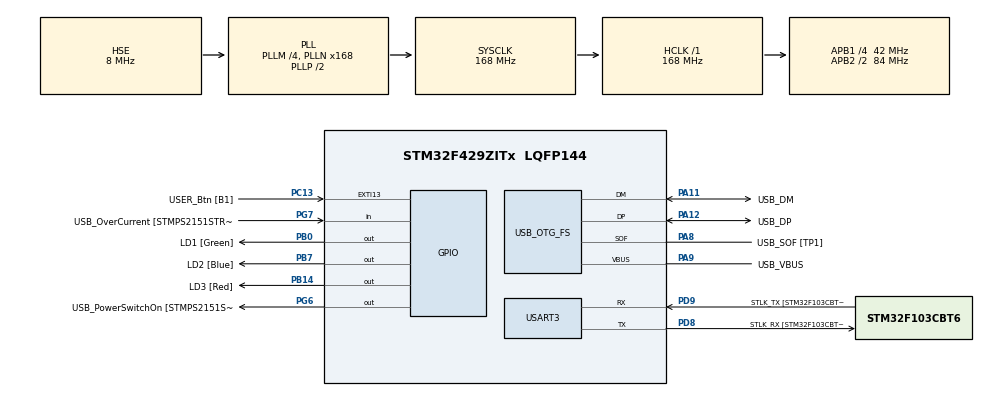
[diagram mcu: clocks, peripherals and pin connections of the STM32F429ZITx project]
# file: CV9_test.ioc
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Mcu.Family=STM32F4
Mcu.Name=STM32F429ZITx
Mcu.Package=LQFP144
NVIC.OTG_FS_IRQn=true\:0\:0\:false\:false\:true\:false\:true\:true
NVIC.PriorityGroup=NVIC_PRIORITYGROUP_4
PA1.GPIO_Label=RMII_REF_CLK [LAN8742A-CZ-TR_REFCLK0]
PA1.Signal=ETH_REF_CLK
PA10.GPIO_Label=USB_ID
PA10.Signal=USB_OTG_FS_ID
PA11.GPIO_Label=USB_DM
PA11.Mode=Device_Only
PA11.Signal=USB_OTG_FS_DM
PA12.GPIO_Label=USB_DP
PA12.Mode=Device_Only
PA12.Signal=USB_OTG_FS_DP
PA13.GPIO_Label=TMS
PA13.Mode=Serial_Wire
PA13.Signal=SYS_JTMS-SWDIO
PA14.GPIO_Label=TCK
PA14.Mode=Serial_Wire
PA14.Signal=SYS_JTCK-SWCLK
PA2.GPIO_Label=RMII_MDIO [LAN8742A-CZ-TR_MDIO]
PA2.Signal=ETH_MDIO
PA7.GPIO_Label=RMII_CRS_DV [LAN8742A-CZ-TR_CRS_DV]
PA7.Signal=ETH_CRS_DV
PA8.GPIO_Label=USB_SOF [TP1]
PA8.Mode=Activate_SOF_FS
PA8.Signal=USB_OTG_FS_SOF
PA9.GPIO_Label=USB_VBUS
PA9.Mode=Activate_VBUS
PA9.Signal=USB_OTG_FS_VBUS
PB0.GPIO_Label=LD1 [Green]
PB0.Signal=GPIO_Output
PB13.GPIO_Label=RMII_TXD1 [LAN8742A-CZ-TR_TXD1]
PB13.Signal=ETH_TXD1
PB14.GPIO_Label=LD3 [Red]
PB14.Signal=GPIO_Output
PB7.GPIO_Label=LD2 [Blue]
PB7.Signal=GPIO_Output
PC1.GPIO_Label=RMII_MDC [LAN8742A-CZ-TR_MDC]
PC1.Signal=ETH_MDC
PC13.GPIO_Label=USER_Btn [B1]
PC13.Signal=GPXTI13
PC14/OSC32_IN.Mode=LSE-External-Oscillator
PC14/OSC32_IN.Signal=RCC_OSC32_IN
PC15/OSC32_OUT.Mode=LSE-External-Oscillator
PC15/OSC32_OUT.Signal=RCC_OSC32_OUT
PC4.GPIO_Label=RMII_RXD0 [LAN8742A-CZ-TR_RXD0]
PC4.Signal=ETH_RXD0
PC5.GPIO_Label=RMII_RXD1 [LAN8742A-CZ-TR_RXD1]
PC5.Signal=ETH_RXD1
PD8.GPIO_Label=STLK_RX [STM32F103CBT6_PA3]
PD8.Mode=Asynchronous
PD8.Signal=USART3_TX
PD9.GPIO_Label=STLK_TX [STM32F103CBT6_PA2]
PD9.Mode=Asynchronous
PD9.Signal=USART3_RX
PG11.GPIO_Label=RMII_TX_EN [LAN8742A-CZ-TR_TXEN]
PG11.Signal=ETH_TX_EN
PG13.GPIO_Label=RMII_TXD0 [LAN8742A-CZ-TR_TXD0]
PG13.Signal=ETH_TXD0
PG6.GPIO_Label=USB_PowerSwitchOn [STMPS2151STR_EN]
PG6.Signal=GPIO_Output
PG7.GPIO_Label=USB_OverCurrent [STMPS2151STR_FAULT]
PG7.Signal=GPIO_Input
PH0/OSC_IN.GPIO_Label=MCO [STM32F103CBT6_PA8]
PH0/OSC_IN.Mode=HSE-External-Clock-Source
PH0/OSC_IN.Signal=RCC_OSC_IN
PH1/OSC_OUT.Mode=HSE-External-Clock-Source
PH1/OSC_OUT.Signal=RCC_OSC_OUT
ProjectManager.HeapSize=0x200
ProjectManager.StackSize=0x400
ProjectManager.TargetToolchain=STM32CubeIDE
RCC.48MHZClocksFreq_Value=48000000
RCC.AHBFreq_Value=168000000
RCC.APB1CLKDivider=RCC_HCLK_DIV4
RCC.APB1Freq_Value=42000000
RCC.APB1TimFreq_Value=84000000
RCC.APB2CLKDivider=RCC_HCLK_DIV2
RCC.APB2Freq_Value=84000000
RCC.APB2TimCLKDivider=2
RCC.APB2TimFreq_Value=168000000
RCC.CortexFreq_Value=168000000
RCC.HCLKFreq_Value=168000000
RCC.HSE_VALUE=8000000
RCC.HSI_VALUE=16000000
RCC.PLLM=4
RCC.PLLMUL=RCC_PLL_MUL9
RCC.PLLN=168
RCC.PLLQ=7
RCC.PRESCALERUSB=RCC_USBCLKSOURCE_PLL_DIV1_5
RCC.SYSCLKFreq_VALUE=168000000
RCC.SYSCLKSource=RCC_SYSCLKSOURCE_PLLCLK
RCC.SYSCLKSourceVirtual=RCC_SYSCLKSOURCE_PLLCLK
RCC.USBFreq_Value=48000000
RCC.VCOOutputFreq_Value=336000000
USART3.VirtualMode=VM_ASYNC
USB_DEVICE.CLASS_NAME_FS=HID
USB_DEVICE.VirtualMode-HID_FS=Hid
USB_DEVICE.VirtualModeFS=Hid_FS
USB_OTG_FS.VirtualMode=Device_Only
VP_USB_DEVICE_VS_USB_DEVICE_HID_FS.Mode=HID_FS
board=NUCLEO-F429ZI

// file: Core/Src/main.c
/* USER CODE BEGIN Header */
/**
  ******************************************************************************
  * @file           : main.c
  * @brief          : Main program body
  ******************************************************************************
  * @attention
  *
  * Copyright (c) 2025 STMicroelectronics.
  * All rights reserved.
  *
  * This software is licensed under terms that can be found in the LICENSE file
  * in the root directory of this software component.
  * If no LICENSE file comes with this software, it is provided AS-IS.
  *
  ******************************************************************************
  */
/* USER CODE END Header */
#include "main.h"
#include "usb_device.h"

/* USER CODE BEGIN Includes */
#include "usbd_hid.h"
#include "math.h"
#include <stdbool.h>
/* USER CODE END Includes */

UART_HandleTypeDef huart3;

void SystemClock_Config(void);
static void MX_GPIO_Init(void);
static void MX_USART3_UART_Init(void);
/* USER CODE BEGIN PFP */
void step(int8_t dx, int8_t dy, bool btn);
void circle(int8_t radius);
static void wait_hid_ready(void);
static void move_rel(int8_t dx, int8_t dy);
static void arc(int8_t radius, float start_deg, float end_deg);
void smiley(void);
/* USER CODE END PFP */

/* USER CODE BEGIN 0 */
extern USBD_HandleTypeDef hUsbDeviceFS;
/* USER CODE END 0 */

int main(void)
{

  /* MCU Configuration--------------------------------------------------------*/

  /* Reset of all peripherals, Initializes the Flash interface and the Systick. */
  HAL_Init();

  /* Configure the system clock */
  SystemClock_Config();

  /* Initialize all configured peripherals */
  MX_GPIO_Init();
  MX_USART3_UART_Init();
  MX_USB_DEVICE_Init();
  /* USER CODE BEGIN 2 */

//  uint32_t i=0;
  wait_hid_ready();
//  circle(80);
  smiley();
//  arc(50, 200.0f, 340.0f);
  /* USER CODE END 2 */

  /* Infinite loop */
  /* USER CODE BEGIN WHILE */
  while (1)
  {
//	  HAL_Delay(2000);
//	  step(0, 0, false);
//	  while(i<1){
//	  uint8_t buff[4];
//	  buff[0] = 0x01; // stiskni leve tlacitko
//	  buff[1] = (int8_t)(10); // posun X +10
//	  buff[2] = (int8_t)(-3); // posun Y -3
//	  buff[3] = 0; // bez scrollu
//	  USBD_HID_SendReport(&hUsbDeviceFS, buff, sizeof(buff));
//	  HAL_Delay(USBD_HID_GetPollingInterval(&hUsbDeviceFS));
//	  i++;
//	  circle(50);
//	  }
	  /* USER CODE END WHILE */

  }
}

void SystemClock_Config(void)
{
  RCC_OscInitTypeDef RCC_OscInitStruct = {0};
  RCC_ClkInitTypeDef RCC_ClkInitStruct = {0};

  /** Configure the main internal regulator output voltage
  */
  __HAL_RCC_PWR_CLK_ENABLE();
  __HAL_PWR_VOLTAGESCALING_CONFIG(PWR_REGULATOR_VOLTAGE_SCALE1);

  /** Initializes the RCC Oscillators according to the specified parameters
  * in the RCC_OscInitTypeDef structure.
  */
  RCC_OscInitStruct.OscillatorType = RCC_OSCILLATORTYPE_HSE;
  RCC_OscInitStruct.HSEState = RCC_HSE_BYPASS;
  RCC_OscInitStruct.PLL.PLLState = RCC_PLL_ON;
  RCC_OscInitStruct.PLL.PLLSource = RCC_PLLSOURCE_HSE;
  RCC_OscInitStruct.PLL.PLLM = 4;
  RCC_OscInitStruct.PLL.PLLN = 168;
  RCC_OscInitStruct.PLL.PLLP = RCC_PLLP_DIV2;
  RCC_OscInitStruct.PLL.PLLQ = 7;
  if (HAL_RCC_OscConfig(&RCC_OscInitStruct) != HAL_OK)
  {
    Error_Handler();
  }

  /** Initializes the CPU, AHB and APB buses clocks
  */
  RCC_ClkInitStruct.ClockType = RCC_CLOCKTYPE_HCLK|RCC_CLOCKTYPE_SYSCLK
                              |RCC_CLOCKTYPE_PCLK1|RCC_CLOCKTYPE_PCLK2;
  RCC_ClkInitStruct.SYSCLKSource = RCC_SYSCLKSOURCE_PLLCLK;
  RCC_ClkInitStruct.AHBCLKDivider = RCC_SYSCLK_DIV1;
  RCC_ClkInitStruct.APB1CLKDivider = RCC_HCLK_DIV4;
  RCC_ClkInitStruct.APB2CLKDivider = RCC_HCLK_DIV2;

  if (HAL_RCC_ClockConfig(&RCC_ClkInitStruct, FLASH_LATENCY_5) != HAL_OK)
  {
    Error_Handler();
  }
}

static void MX_USART3_UART_Init(void)
{

  huart3.Instance = USART3;
  huart3.Init.BaudRate = 115200;
  huart3.Init.WordLength = UART_WORDLENGTH_8B;
  huart3.Init.StopBits = UART_STOPBITS_1;
  huart3.Init.Parity = UART_PARITY_NONE;
  huart3.Init.Mode = UART_MODE_TX_RX;
  huart3.Init.HwFlowCtl = UART_HWCONTROL_NONE;
  huart3.Init.OverSampling = UART_OVERSAMPLING_16;
  if (HAL_UART_Init(&huart3) != HAL_OK)
  {
    Error_Handler();
  }

}

static void MX_GPIO_Init(void)
{
  GPIO_InitTypeDef GPIO_InitStruct = {0};

  /* GPIO Ports Clock Enable */
  __HAL_RCC_GPIOC_CLK_ENABLE();
  __HAL_RCC_GPIOH_CLK_ENABLE();
  __HAL_RCC_GPIOA_CLK_ENABLE();
  __HAL_RCC_GPIOB_CLK_ENABLE();
  __HAL_RCC_GPIOD_CLK_ENABLE();
  __HAL_RCC_GPIOG_CLK_ENABLE();

  /*Configure GPIO pin Output Level */
  HAL_GPIO_WritePin(GPIOB, LD1_Pin|LD3_Pin|LD2_Pin, GPIO_PIN_RESET);

  /*Configure GPIO pin Output Level */
  HAL_GPIO_WritePin(USB_PowerSwitchOn_GPIO_Port, USB_PowerSwitchOn_Pin, GPIO_PIN_RESET);

  /*Configure GPIO pin : USER_Btn_Pin */
  GPIO_InitStruct.Pin = USER_Btn_Pin;
  GPIO_InitStruct.Mode = GPIO_MODE_IT_RISING;
  GPIO_InitStruct.Pull = GPIO_NOPULL;
  HAL_GPIO_Init(USER_Btn_GPIO_Port, &GPIO_InitStruct);

  /*Configure GPIO pins : RMII_MDC_Pin RMII_RXD0_Pin RMII_RXD1_Pin */
  GPIO_InitStruct.Pin = RMII_MDC_Pin|RMII_RXD0_Pin|RMII_RXD1_Pin;
  GPIO_InitStruct.Mode = GPIO_MODE_AF_PP;
  GPIO_InitStruct.Pull = GPIO_NOPULL;
  GPIO_InitStruct.Speed = GPIO_SPEED_FREQ_VERY_HIGH;
  GPIO_InitStruct.Alternate = GPIO_AF11_ETH;
  HAL_GPIO_Init(GPIOC, &GPIO_InitStruct);

  /*Configure GPIO pins : RMII_REF_CLK_Pin RMII_MDIO_Pin RMII_CRS_DV_Pin */
  GPIO_InitStruct.Pin = RMII_REF_CLK_Pin|RMII_MDIO_Pin|RMII_CRS_DV_Pin;
  GPIO_InitStruct.Mode = GPIO_MODE_AF_PP;
  GPIO_InitStruct.Pull = GPIO_NOPULL;
  GPIO_InitStruct.Speed = GPIO_SPEED_FREQ_VERY_HIGH;
  GPIO_InitStruct.Alternate = GPIO_AF11_ETH;
  HAL_GPIO_Init(GPIOA, &GPIO_InitStruct);

  /*Configure GPIO pins : LD1_Pin LD3_Pin LD2_Pin */
  GPIO_InitStruct.Pin = LD1_Pin|LD3_Pin|LD2_Pin;
  GPIO_InitStruct.Mode = GPIO_MODE_OUTPUT_PP;
  GPIO_InitStruct.Pull = GPIO_NOPULL;
  GPIO_InitStruct.Speed = GPIO_SPEED_FREQ_LOW;
  HAL_GPIO_Init(GPIOB, &GPIO_InitStruct);

  /*Configure GPIO pin : RMII_TXD1_Pin */
  GPIO_InitStruct.Pin = RMII_TXD1_Pin;
  GPIO_InitStruct.Mode = GPIO_MODE_AF_PP;
  GPIO_InitStruct.Pull = GPIO_NOPULL;
  GPIO_InitStruct.Speed = GPIO_SPEED_FREQ_VERY_HIGH;
  GPIO_InitStruct.Alternate = GPIO_AF11_ETH;
  HAL_GPIO_Init(RMII_TXD1_GPIO_Port, &GPIO_InitStruct);

  /*Configure GPIO pin : USB_PowerSwitchOn_Pin */
  GPIO_InitStruct.Pin = USB_PowerSwitchOn_Pin;
  GPIO_InitStruct.Mode = GPIO_MODE_OUTPUT_PP;
  GPIO_InitStruct.Pull = GPIO_NOPULL;
  GPIO_InitStruct.Speed = GPIO_SPEED_FREQ_LOW;
  HAL_GPIO_Init(USB_PowerSwitchOn_GPIO_Port, &GPIO_InitStruct);

  /*Configure GPIO pin : USB_OverCurrent_Pin */
  GPIO_InitStruct.Pin = USB_OverCurrent_Pin;
  GPIO_InitStruct.Mode = GPIO_MODE_INPUT;
  GPIO_InitStruct.Pull = GPIO_NOPULL;
  HAL_GPIO_Init(USB_OverCurrent_GPIO_Port, &GPIO_InitStruct);

  /*Configure GPIO pins : RMII_TX_EN_Pin RMII_TXD0_Pin */
  GPIO_InitStruct.Pin = RMII_TX_EN_Pin|RMII_TXD0_Pin;
  GPIO_InitStruct.Mode = GPIO_MODE_AF_PP;
  GPIO_InitStruct.Pull = GPIO_NOPULL;
  GPIO_InitStruct.Speed = GPIO_SPEED_FREQ_VERY_HIGH;
  GPIO_InitStruct.Alternate = GPIO_AF11_ETH;
  HAL_GPIO_Init(GPIOG, &GPIO_InitStruct);

}

/* USER CODE BEGIN 4 */
void step(int8_t dx, int8_t dy, bool btn){
    uint8_t buff[4];

    buff[0] = btn ? 0x01 : 0x00;     // bit 0 = left button
    buff[1] = (int8_t)dx;            // relative shift X
    buff[2] = (int8_t)dy;            // relative shift Y
    buff[3] = 0;                     // no scrolling

    USBD_HID_SendReport(&hUsbDeviceFS, buff, sizeof(buff));
    HAL_Delay(USBD_HID_GetPollingInterval(&hUsbDeviceFS));
}

void circle(int8_t radius){
    const int8_t steps = 80;                        // number of points (DO NOT CHANGE)
    const float dphi = 2.0f * (float)M_PI / steps;

    // integer previous coordinates
    int8_t sx_prev = 0;
    int8_t sy_prev = 0;

    // take the first point phi = 0
    int8_t sx0 = (int8_t)lroundf(radius * cosf(0.0f));
    int8_t sy0 = (int8_t)lroundf(radius * sinf(0.0f));
    sx_prev = sx0;
    sy_prev = sy0;

    // нажимаем кнопку перед рисованием
    step(0, 0, true);

    for (int8_t i = 1; i <= steps; i++)
    {
        float phi = i * dphi;

        float x = radius * cosf(phi);
        float y = radius * sinf(phi);

        int8_t sx = (int8_t)lroundf(x);
        int8_t sy = (int8_t)lroundf(y);

        int8_t dx = sx - sx_prev;
        int8_t dy = sy - sy_prev;

        sx_prev = sx;
        sy_prev = sy;

        // страховка от выхода за диапазон int8_t
        if (dx > 127)  dx = 127;
        if (dx < -128) dx = -128;
        if (dy > 127)  dy = 127;
        if (dy < -128) dy = -128;

        step(dx, dy, true);   // рисуем с нажатой ЛКМ
    }

    // отпускаем кнопку в конце
    step(0, 0, false);
    step((-radius/2)-3.1415927, 0, false);
}

static void move_rel(int8_t dx, int8_t dy){
    step(dx, dy, false);   // просто перемещение, кнопка не нажата
}

static void wait_hid_ready(void){ //дебаг для того что бы необрезало начальные значения
    uint8_t buff[4] = {0, 0, 0, 0};

    // Ждём пока Windows сконфигурирует устройство
    while (hUsbDeviceFS.dev_state != USBD_STATE_CONFIGURED)
    {
        HAL_Delay(1);
    }

    while (USBD_HID_SendReport(&hUsbDeviceFS, buff, sizeof(buff)) == USBD_BUSY)
    {
        HAL_Delay(1);   // минимальная пауза
    }

    // Дополнительный короткий прогрев: 2–3 стабильных отчёта
    for (int8_t i = 0; i < 3; i++)
    {
        USBD_HID_SendReport(&hUsbDeviceFS, buff, sizeof(buff));
        HAL_Delay(1);
    }
}

static void arc(int8_t radius, float start_deg, float end_deg){
    const int8_t steps = 40;   // сколько сегментов; можно подстроить
    float start = start_deg * (float)M_PI / 180.0f;
    float end   = end_deg   * (float)M_PI / 180.0f;
    float dphi  = (end - start) / steps;

    // начинаем из центра – сначала прыгаем в первую точку дуги
    float phi = start;
    int8_t sx_prev = (int8_t)lroundf(radius * cosf(phi));
    int8_t sy_prev = (int8_t)lroundf(radius * sinf(phi));

    // прыжок из центра в первую точку и зажимаем кнопку
    step(sx_prev, sy_prev, true);

    for (int8_t i = 1; i <= steps; i++)
    {
        phi = start + i * dphi;
        int8_t sx = (int8_t)lroundf(radius * cosf(phi));
        int8_t sy = (int8_t)lroundf(radius * sinf(phi));

        int8_t dx = sx - sx_prev;
        int8_t dy = sy - sy_prev;

        sx_prev = sx;
        sy_prev = sy;

        step(dx, (-1)*dy, true);    // рисуем дугу с зажатой кнопкой
    }
    step(0, 0, false);
    // возвращаемся обратно в центр и отпускаем кнопку
    step(-sx_prev, 0, false);
}

void smiley(void){
    static const int8_t R_HEAD      = 80;  // радиус головы
    static const int8_t R_EYE       = 8;   // радиус глаза
    static const int8_t EYE_OFF_X   = 15;  // сдвиг глаз по X от центра
    static const int8_t EYE_OFF_Y   = 18;  // сдвиг глаз по Y (вверх)
    static const int8_t NOSE_LEN    = 30;  // длина носа (прямая линия)
    static const int8_t MOUTH_R     = 50;  // радиус улыбки
    static const int8_t MOUTH_OFF_Y = 30;  // сдвиг центра рта вниз

    // 1) Голова – большая окружность
    circle(R_HEAD);

    // 2) Левый глаз
    move_rel(-EYE_OFF_X, -EYE_OFF_Y);   // к центру левого глаза
    circle(R_EYE);
    move_rel(+EYE_OFF_X+R_EYE/2, +EYE_OFF_Y);   // вернулись в центр лица

    // 3) Правый глаз
    move_rel(+EYE_OFF_X+R_EYE/2, -EYE_OFF_Y+R_EYE/2);   // к центру правого глаза
    circle(R_EYE);
    move_rel(-EYE_OFF_X-R_EYE/2, +EYE_OFF_Y);   // снова центр лица

    // 4) Нос – просто вертикальная линия вниз
    for (int8_t i = 0; i < NOSE_LEN; i++)
    {
        step(0, +1, true);   // рисуем линию
    }
    step(0, 0, false);       // отпустили кнопку
    // вернёмся назад, чтобы центр опять был примерно там же
    move_rel(0, 0);

    // 5) Улыбка – дуга
    move_rel(R_HEAD/2+R_EYE+3.14, +MOUTH_OFF_Y);         // центр рта ниже центра лица
    arc(MOUTH_R, 200.0f, 340.0f);      // нижняя дуга
    move_rel(0, -MOUTH_OFF_Y);         // вернули курсор в центр
}

/* USER CODE END 4 */

void Error_Handler(void)
{
  __disable_irq();
  while (1)
  {
  }
}
